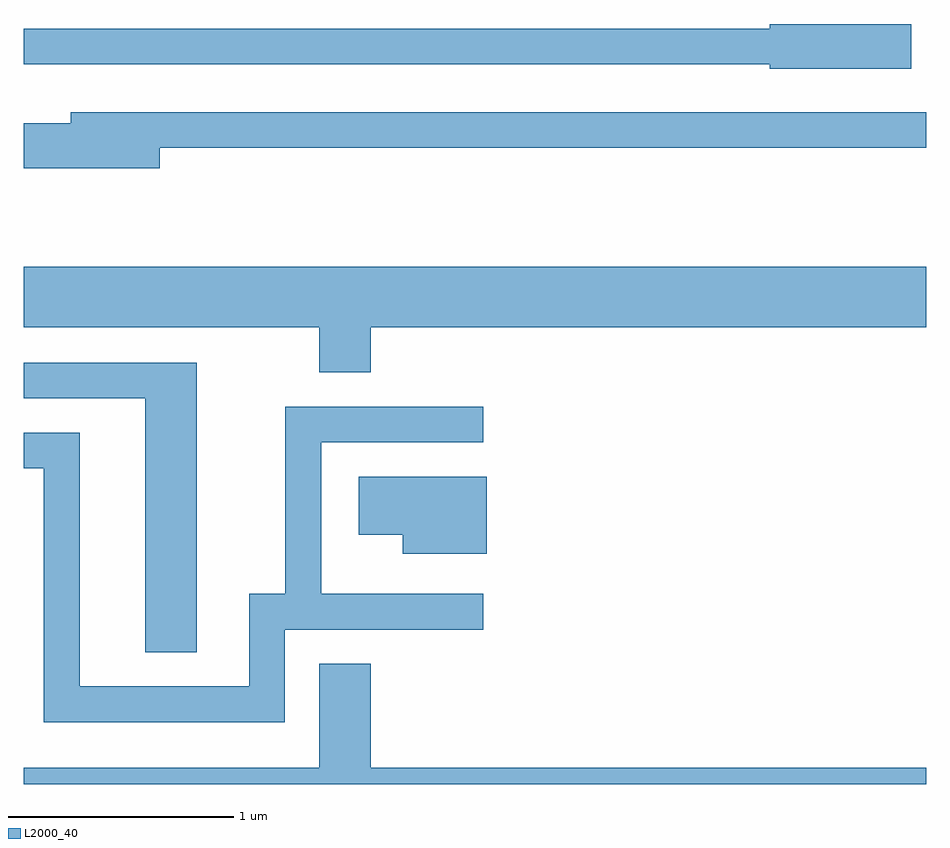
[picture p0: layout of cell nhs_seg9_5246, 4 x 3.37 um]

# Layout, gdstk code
import gdstk
lib = gdstk.Library(unit=1e-6, precision=1e-09)
def P(c, l, *ps):  # polygons
    for p in ps: c.add(gdstk.Polygon(p, *l))
L2000_40 = (2000, 40)

nhs_seg9_5246 = lib.new_cell('nhs_seg9_5246')
P(nhs_seg9_5246, L2000_40, [(343.544,2019.799),(342.916,2019.799),(342.916,2019.779),(339.611,2019.779),(339.611,2019.621),(342.916,2019.621),(342.916,2019.601),(343.544,2019.601)],
  [(340.214,2019.251),(343.611,2019.251),(343.611,2019.409),(339.821,2019.409),(339.821,2019.359),(339.611,2019.359),(339.611,2019.161),(340.214,2019.161)],
  [(341.149,2018.456),(343.611,2018.456),(343.611,2018.724),(339.611,2018.724),(339.611,2018.456),(340.921,2018.456),(340.921,2018.256),(341.149,2018.256)],
  [(340.379,2018.299),(339.611,2018.299),(339.611,2018.141),(340.151,2018.141),(340.151,2017.016),(340.379,2017.016)],
  [(340.769,2017.116),(341.648,2017.116),(341.648,2017.274),(340.929,2017.274),(340.929,2017.946),(341.648,2017.946),(341.648,2018.104),(340.771,2018.104),(340.771,2017.274),(340.611,2017.274),(340.611,2016.864),(339.859,2016.864),(339.859,2017.989),(339.611,2017.989),(339.611,2017.831),(339.701,2017.831),(339.701,2016.706),(340.769,2016.706)],
  [(341.664,2017.794),(341.096,2017.794),(341.096,2017.536),(341.291,2017.536),(341.291,2017.451),(341.664,2017.451)],
  [(343.611,2016.504),(341.149,2016.504),(341.149,2016.964),(340.921,2016.964),(340.921,2016.504),(339.611,2016.504),(339.611,2016.432),(343.611,2016.432)])

lib.write_gds('nhs_seg9_5246.gds')
